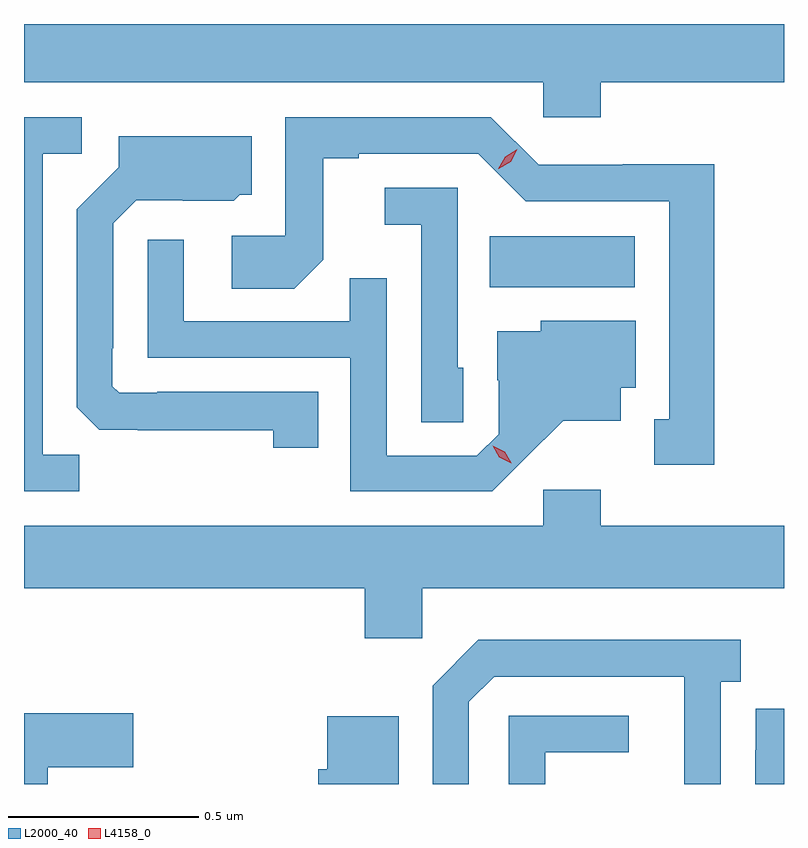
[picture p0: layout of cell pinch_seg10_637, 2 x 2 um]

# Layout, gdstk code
import gdstk
lib = gdstk.Library(unit=1e-6, precision=1e-09)
def R(c, l, rs):  # rectangles x0, y0, x1, y1
    for r in rs: c.add(gdstk.rectangle(r[:2], r[2:], *l))
def P(c, l, *ps):  # polygons
    for p in ps: c.add(gdstk.Polygon(p, *l))
L2000_40 = (2000, 40)
L4158_0 = (4158, 0)

pinch_seg10_637 = lib.new_cell('pinch_seg10_637')
R(pinch_seg10_637, L2000_40, [(390.67,1271.804,391.051,1271.938)])
P(pinch_seg10_637, L2000_40, [(390.962,1272.344),(391.444,1272.344),(391.444,1272.497),(389.444,1272.497),(389.444,1272.344),(390.81,1272.344),(390.81,1272.251),(390.962,1272.251)],
  [(389.589,1271.363),(389.493,1271.363),(389.493,1272.156),(389.596,1272.156),(389.596,1272.252),(389.444,1272.252),(389.444,1271.268),(389.589,1271.268)],
  [(391.261,1272.128),(391.02,1272.128),(391.02,1272.126),(390.798,1272.126),(390.672,1272.252),(390.132,1272.252),(390.132,1271.94),(389.991,1271.94),(389.991,1271.8),(390.155,1271.8),(390.231,1271.876),(390.231,1272.144),(390.325,1272.144),(390.325,1272.156),(390.639,1272.156),(390.765,1272.03),(391.142,1272.03),(391.142,1271.457),(391.103,1271.457),(391.103,1271.337),(391.261,1271.337)],
  [(390.218,1271.529),(389.794,1271.529),(389.794,1271.526),(389.694,1271.526),(389.676,1271.544),(389.676,1271.644),(389.679,1271.644),(389.679,1271.973),(389.739,1272.033),(389.862,1272.033),(389.862,1272.032),(389.996,1272.032),(390.012,1272.048),(390.043,1272.048),(390.043,1272.202),(389.693,1272.202),(389.693,1272.12),(389.583,1272.01),(389.583,1271.488),(389.642,1271.429),(389.743,1271.429),(389.743,1271.428),(390.1,1271.428),(390.1,1271.382),(390.218,1271.382)],
  [(390.6,1271.592),(390.585,1271.592),(390.585,1272.066),(390.393,1272.066),(390.393,1271.969),(390.489,1271.969),(390.489,1271.449),(390.6,1271.449)],
  [(390.76,1271.351),(390.863,1271.453),(391.015,1271.453),(391.015,1271.54),(391.054,1271.54),(391.054,1271.716),(390.804,1271.716),(390.804,1271.689),(390.689,1271.689),(390.689,1271.56),(390.693,1271.56),(390.693,1271.418),(390.636,1271.361),(390.399,1271.361),(390.399,1271.828),(390.301,1271.828),(390.301,1271.715),(389.865,1271.715),(389.865,1271.929),(389.769,1271.929),(389.769,1271.619),(390.303,1271.619),(390.303,1271.268),(390.676,1271.268)],
  [(390.492,1271.012),(391.444,1271.012),(391.444,1271.176),(390.962,1271.176),(390.962,1271.272),(390.81,1271.272),(390.81,1271.176),(389.444,1271.176),(389.444,1271.012),(390.341,1271.012),(390.341,1270.881),(390.492,1270.881)],
  [(390.615,1270.713),(390.681,1270.779),(391.181,1270.779),(391.181,1270.579),(391.182,1270.579),(391.182,1270.497),(391.278,1270.497),(391.278,1270.766),(391.33,1270.766),(391.33,1270.876),(390.64,1270.876),(390.519,1270.755),(390.519,1270.497),(390.615,1270.497)],
  [(391.444,1270.695),(391.369,1270.695),(391.369,1270.586),(391.368,1270.586),(391.368,1270.497),(391.444,1270.497)],
  [(389.507,1270.541),(389.731,1270.541),(389.731,1270.683),(389.444,1270.683),(389.444,1270.497),(389.507,1270.497)],
  [(390.816,1270.581),(391.036,1270.581),(391.036,1270.677),(390.72,1270.677),(390.72,1270.497),(390.816,1270.497)],
  [(390.43,1270.675),(390.242,1270.675),(390.242,1270.536),(390.218,1270.536),(390.218,1270.497),(390.43,1270.497)])
P(pinch_seg10_637, L4158_0, [(390.692,1272.116),(390.692,1272.116),(390.71,1272.148),(390.742,1272.167),(390.742,1272.167),(390.742,1272.167),(390.725,1272.134),(390.693,1272.116)],
  [(390.726,1271.341),(390.695,1271.357),(390.678,1271.387),(390.678,1271.387),(390.678,1271.387),(390.709,1271.372),(390.726,1271.342),(390.726,1271.341)])

lib.write_gds('pinch_seg10_637.gds')
